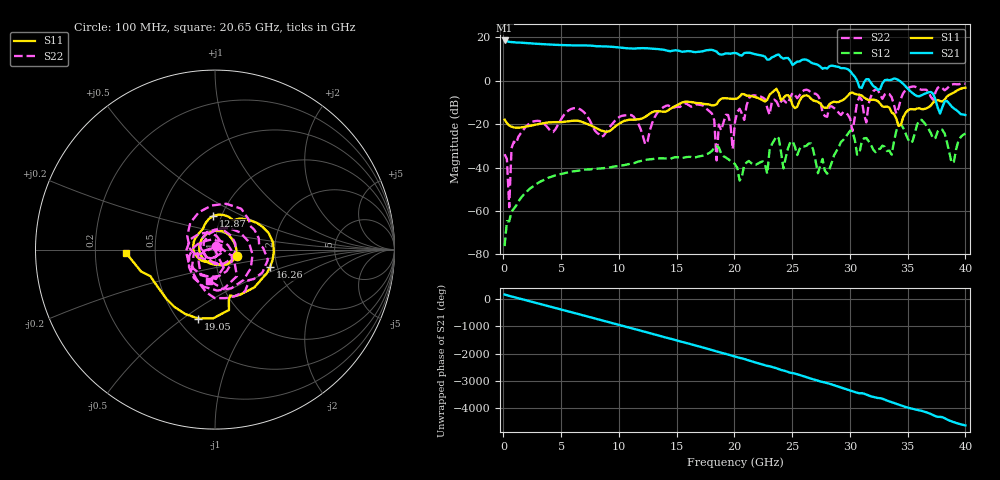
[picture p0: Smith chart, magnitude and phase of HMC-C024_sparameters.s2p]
!Hittite Microwave Corporation
!20 Alpha Road
!Chelmsford, MA 01824
!Tel: 978-250-3343
!Fax: 978-250-3373
!Device: HMC-C024, 10MHz-20 GHz, Wideband Driver Amp Module
!Misc: Vdd = +12V, Idd = 225 mA, Room Temperature
# GHZ S DB R 50
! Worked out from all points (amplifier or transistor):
!   201 points, 100 MHz to 40 GHz, reference 50 ohm
!   highest |S21| = 18.5 dB at 100 MHz (marker M1)
!   |S21| within 3 dB of that: start of sweep to 9.569 GHz
!   unconditionally stable (mu >= 1): start of sweep to end of sweep
!   at 6.684 GHz: K = 8.38, MAG = 16.5 dB, |S12| = -41.2 dB
!   at 20.05 GHz: K = 8.06, MAG = 13.6 dB, |S12| = -38.5 dB
!   at 40 GHz: K = 7.75, MAG = -7.6 dB, |S12| = -24.3 dB
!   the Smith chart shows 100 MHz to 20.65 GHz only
!   S11 on the Smith chart (normalised r, x): 100 MHz: 1.27, -0.10; 12.87 GHz: 0.92, +0.36; 16.26 GHz: 1.83, -0.39; 19.05 GHz: 0.63, -0.57; 20.65 GHz: 0.34, -0.02
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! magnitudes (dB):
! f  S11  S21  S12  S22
! 100 MHz  -17.9  18.5  -76.2  -33.9
! 499 MHz  -20.6  17.9  -64.7  -58.3
! 898 MHz  -21.5  17.7  -59.0  -28.1
! 6.883 GHz  -19.1  16.2  -41.2  -14.1
! 12.87 GHz  -14.5  14.7  -36.1  -19.6
! 13.47 GHz  -14.1  14.5  -35.8  -13.8
! 16.26 GHz  -9.8  13.5  -35.1  -12.0
! 18.05 GHz  -11.4  14.2  -32.3  -15.1
! 18.45 GHz  -10.9  13.4  -30.1  -36.7
! 19.05 GHz  -8.1  12.2  -34.8  -19.2
! 19.85 GHz  -8.4  12.7  -37.6  -31.5
! 20.05 GHz  -8.3  12.8  -38.5  -19.0
! 20.65 GHz  -6.1  11.6  -44.4  -15.1
! 22.84 GHz  -8.8  9.7  -42.9  -12.6
! 23.64 GHz  -3.7  11.8  -25.6  -9.5
! 24.24 GHz  -8.0  10.2  -40.4  -8.8
! 26.83 GHz  -9.1  7.9  -32.1  -5.9
! 28.03 GHz  -12.4  5.6  -42.9  -16.6
! 30.23 GHz  -5.5  3.0  -23.5  -23.2
! 30.82 GHz  -6.4  -3.0  -33.3  -7.5
! 33.42 GHz  -12.3  0.2  -32.2  -6.2
! 40 GHz  -3.3  -15.8  -24.3  -1.3
